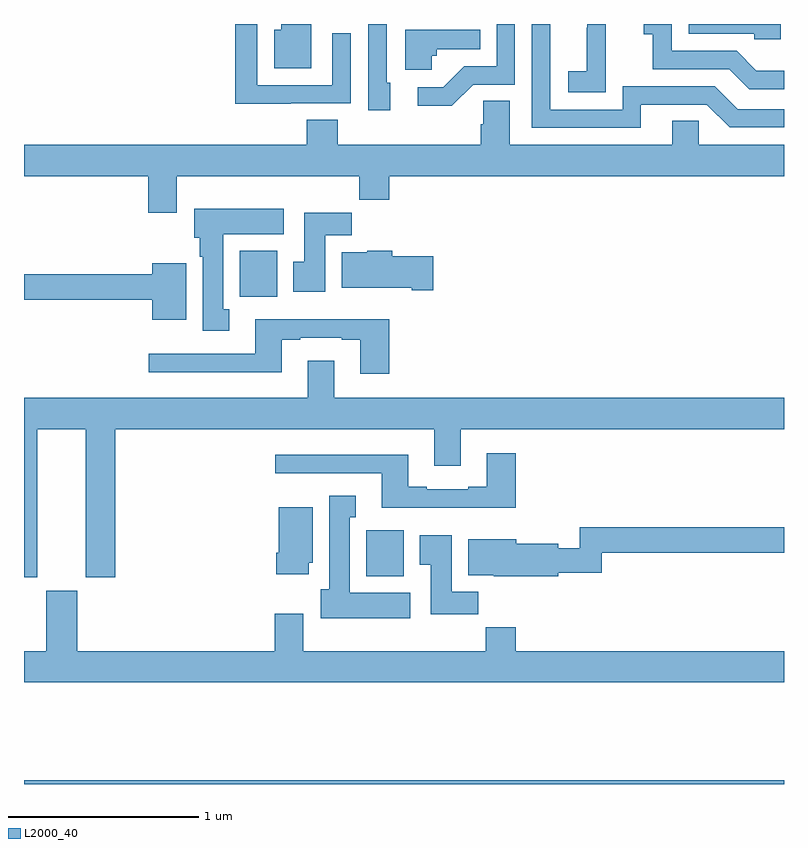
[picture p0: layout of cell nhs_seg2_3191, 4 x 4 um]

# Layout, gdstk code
import gdstk
lib = gdstk.Library(unit=1e-6, precision=1e-09)
def R(c, l, rs):  # rectangles x0, y0, x1, y1
    for r in rs: c.add(gdstk.rectangle(r[:2], r[2:], *l))
def P(c, l, *ps):  # polygons
    for p in ps: c.add(gdstk.Polygon(p, *l))
L2000_40 = (2000, 40)

nhs_seg2_3191 = lib.new_cell('nhs_seg2_3191')
R(nhs_seg2_3191, L2000_40, [(279,613.8,283,613.82), (280.802,614.894,280.999,615.136), (280.136,616.364,280.333,616.606)])
P(nhs_seg2_3191, L2000_40, [(283,617.554),(282.854,617.554),(282.75,617.658),(282.408,617.658),(282.408,617.8),(282.261,617.8),(282.261,617.747),(282.31,617.747),(282.31,617.562),(282.713,617.562),(282.818,617.457),(283,617.457)],
  [(280.513,617.8),(280.355,617.8),(280.355,617.77),(280.316,617.77),(280.316,617.567),(280.513,617.567)],
  [(280.403,617.382),(280.719,617.382),(280.719,617.752),(280.623,617.752),(280.623,617.478),(280.227,617.478),(280.227,617.8),(280.111,617.8),(280.111,617.381),(280.403,617.381)],
  [(281.364,617.481),(281.583,617.481),(281.583,617.8),(281.487,617.8),(281.487,617.577),(281.318,617.577),(281.207,617.466),(281.073,617.466),(281.073,617.369),(281.251,617.369)],
  [(282.247,617.376),(282.594,617.376),(282.714,617.256),(283,617.256),(283,617.352),(282.756,617.352),(282.636,617.472),(282.15,617.472),(282.15,617.349),(281.769,617.349),(281.769,617.8),(281.673,617.8),(281.673,617.253),(282.247,617.253)],
  [(280.927,617.49),(280.908,617.49),(280.908,617.8),(280.812,617.8),(280.812,617.346),(280.927,617.346)],
  [(282.983,617.8),(282.498,617.8),(282.498,617.748),(282.843,617.748),(282.843,617.721),(282.983,617.721)],
  [(282.063,617.647),(282.062,617.647),(282.062,617.8),(281.964,617.8),(281.964,617.78),(281.963,617.78),(281.963,617.551),(281.865,617.551),(281.865,617.441),(282.063,617.441)],
  [(281.145,617.634),(281.172,617.634),(281.172,617.666),(281.402,617.666),(281.402,617.77),(281.006,617.77),(281.006,617.558),(281.145,617.558)],
  [(279.805,617),(280.765,617),(280.765,616.876),(280.922,616.876),(280.922,617),(283,617),(283,617.164),(282.552,617.164),(282.552,617.291),(282.413,617.291),(282.413,617.164),(281.557,617.164),(281.557,617.396),(281.418,617.396),(281.418,617.273),(281.405,617.273),(281.405,617.164),(280.652,617.164),(280.652,617.297),(280.487,617.297),(280.487,617.164),(279,617.164),(279,617),(279.653,617),(279.653,616.806),(279.805,616.806)],
  [(280.081,616.298),(280.048,616.298),(280.048,616.694),(280.366,616.694),(280.366,616.828),(279.896,616.828),(279.896,616.674),(279.926,616.674),(279.926,616.574),(279.941,616.574),(279.941,616.185),(280.081,616.185)],
  [(280.585,616.688),(280.724,616.688),(280.724,616.807),(280.475,616.807),(280.475,616.548),(280.418,616.548),(280.418,616.392),(280.585,616.392)],
  [(281.155,616.578),(280.937,616.578),(280.937,616.606),(280.806,616.606),(280.806,616.6),(280.673,616.6),(280.673,616.412),(281.042,616.412),(281.042,616.4),(281.155,616.4)],
  [(279.853,616.54),(279.674,616.54),(279.674,616.484),(279,616.484),(279,616.348),(279.674,616.348),(279.674,616.244),(279.853,616.244)],
  [(280.922,616.246),(280.217,616.246),(280.217,616.065),(279.657,616.065),(279.657,615.968),(280.357,615.968),(280.357,616.137),(280.453,616.137),(280.453,616.149),(280.673,616.149),(280.673,616.137),(280.769,616.137),(280.769,615.96),(280.922,615.96)],
  [(279.07,615.668),(279.326,615.668),(279.326,614.889),(279.479,614.889),(279.479,615.668),(281.159,615.668),(281.159,615.474),(281.299,615.474),(281.299,615.668),(283,615.668),(283,615.832),(280.633,615.832),(280.633,616.027),(280.493,616.027),(280.493,615.832),(279,615.832),(279,614.889),(279.07,614.889)],
  [(281.588,615.541),(281.435,615.541),(281.435,615.364),(281.339,615.364),(281.339,615.351),(281.119,615.351),(281.119,615.364),(281.023,615.364),(281.023,615.532),(280.323,615.532),(280.323,615.435),(280.883,615.435),(280.883,615.254),(281.588,615.254)],
  [(281.032,614.806),(280.714,614.806),(280.714,615.203),(280.747,615.203),(280.747,615.316),(280.607,615.316),(280.607,614.826),(280.562,614.826),(280.562,614.672),(281.032,614.672)],
  [(280.498,614.964),(280.519,614.964),(280.519,615.256),(280.34,615.256),(280.34,615.016),(280.328,615.016),(280.328,614.904),(280.498,614.904)],
  [(281.812,614.913),(282.041,614.913),(282.041,615.016),(283,615.016),(283,615.152),(281.925,615.152),(281.925,615.041),(281.812,615.041),(281.812,615.065),(281.59,615.065),(281.59,615.088),(281.339,615.088),(281.339,614.9),(281.472,614.9),(281.472,614.894),(281.812,614.894)],
  [(281.39,614.812),(281.251,614.812),(281.251,615.109),(281.084,615.109),(281.084,614.953),(281.141,614.953),(281.141,614.694),(281.39,614.694)],
  [(283,614.5),(281.588,614.5),(281.588,614.624),(281.431,614.624),(281.431,614.5),(280.471,614.5),(280.471,614.695),(280.319,614.695),(280.319,614.5),(279.28,614.5),(279.28,614.817),(279.116,614.817),(279.116,614.5),(279,614.5),(279,614.336),(283,614.336)])

lib.write_gds('nhs_seg2_3191.gds')
